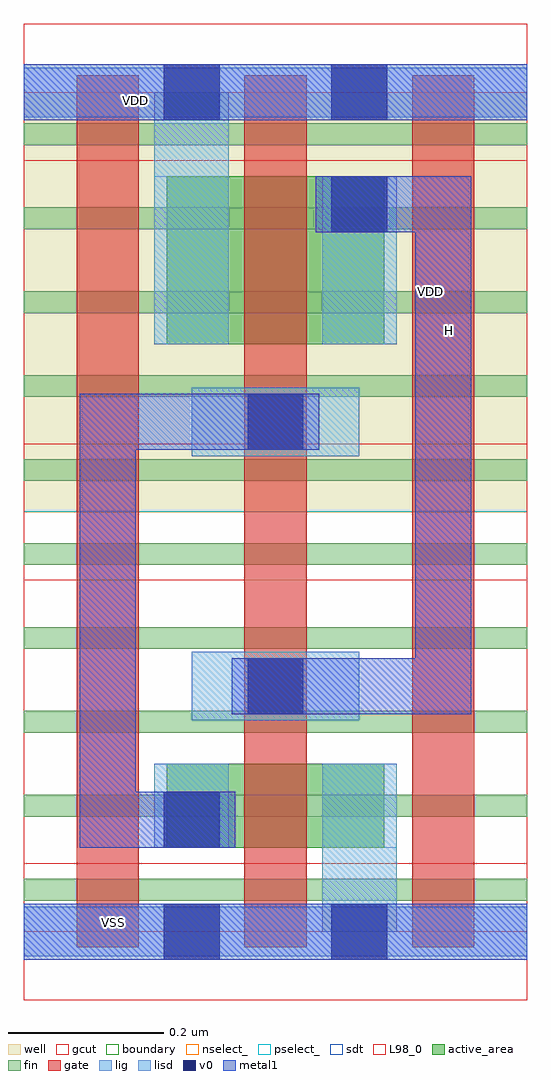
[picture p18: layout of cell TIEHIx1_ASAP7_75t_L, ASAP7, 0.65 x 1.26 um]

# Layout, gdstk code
import gdstk
lib = gdstk.Library(unit=1e-6, precision=2.5e-10)
def R(c, l, rs):  # rectangles x0, y0, x1, y1
    for r in rs: c.add(gdstk.rectangle(r[:2], r[2:], *l))
def A(c, l, x, y, w, h, nx, ny, dx, dy):  # array of equal rectangles
    R(c, l, [(x+i*dx, y+j*dy, x+i*dx+w, y+j*dy+h) for i in range(nx) for j in range(ny)])
def P(c, l, *ps):  # polygons
    for p in ps: c.add(gdstk.Polygon(p, *l))
well = (1, 0)
fin = (2, 0)
gate = (7, 0)
gcut = (10, 0)
active_area = (11, 0)
nselect_ = (12, 0)
pselect_ = (13, 0)
lig = (16, 0)
lisd = (17, 0)
v0 = (18, 0)
metal1 = (19, 0)
sdt = (88, 0)
L98_0 = (98, 0)
boundary = (100, 0)

tiehix1_asap7_75t_l = lib.new_cell('TIEHIx1_ASAP7_75t_L')
R(tiehix1_asap7_75t_l, well, [(0,0.54,0.648,1.08)])
A(tiehix1_asap7_75t_l, fin, 0, 0.04, 0.648, 0.028, 1, 10, 0, 0.108)
A(tiehix1_asap7_75t_l, gate, 0.068, -0.02, 0.08, 1.122, 3, 1, 0.216, 0)
A(tiehix1_asap7_75t_l, gcut, 0, -0.088, 0.648, 0.176, 1, 3, 0, 0.54)
R(tiehix1_asap7_75t_l, active_area, [(0.184,0.108,0.464,0.216), (0.184,0.756,0.464,0.972)])
R(tiehix1_asap7_75t_l, nselect_, [(0,0,0.648,0.54)])
R(tiehix1_asap7_75t_l, pselect_, [(0,0.54,0.648,1.08)])
R(tiehix1_asap7_75t_l, lig, [(0,-0.032,0.648,0.032), (0.216,0.272,0.432,0.36), (0.216,0.612,0.432,0.7), (0,1.048,0.648,1.112)])
R(tiehix1_asap7_75t_l, lisd, [(0.384,0,0.48,0.216), (0.168,0.108,0.264,0.216), (0.168,0.756,0.264,1.08), (0.384,0.756,0.48,0.972)])
R(tiehix1_asap7_75t_l, v0, [(0.18,-0.036,0.252,0.036), (0.396,-0.036,0.468,0.036), (0.18,0.108,0.252,0.18), (0.288,0.28,0.36,0.352), (0.288,0.62,0.36,0.692), (0.396,0.9,0.468,0.972), (0.18,1.044,0.252,1.116), (0.396,1.044,0.468,1.116)])
R(tiehix1_asap7_75t_l, metal1, [(0,-0.036,0.648,0.036), (0,1.044,0.648,1.116)])
P(tiehix1_asap7_75t_l, metal1, [(0.576,0.972),(0.376,0.972),(0.376,0.9),(0.504,0.9),(0.504,0.352),(0.268,0.352),(0.268,0.28),(0.576,0.28)],
  [(0.38,0.692),(0.072,0.692),(0.072,0.108),(0.272,0.108),(0.272,0.18),(0.144,0.18),(0.144,0.62),(0.38,0.62)])
R(tiehix1_asap7_75t_l, sdt, [(0.168,0.108,0.264,0.216), (0.384,0.108,0.48,0.216), (0.168,0.756,0.264,0.972), (0.384,0.756,0.48,0.972)])
R(tiehix1_asap7_75t_l, L98_0, [(0,0,0.648,1.08)])
R(tiehix1_asap7_75t_l, boundary, [(0,0,0.648,1.08)])
tiehix1_asap7_75t_l.add(gdstk.Label('VDD', (0.524,0.824), layer=1, texttype=251))
tiehix1_asap7_75t_l.add(gdstk.Label('VDD', (0.144,1.07), layer=19, texttype=251))
tiehix1_asap7_75t_l.add(gdstk.Label('VSS', (0.116,0.012), layer=19, texttype=251))
tiehix1_asap7_75t_l.add(gdstk.Label('H', (0.548,0.774), layer=19, texttype=251))
tiehix1_asap7_75t_l.add(gdstk.Label('VSS', (0.8,0.82), layer=3, texttype=251))

lib.write_gds('TIEHIx1_ASAP7_75t_L.gds')
